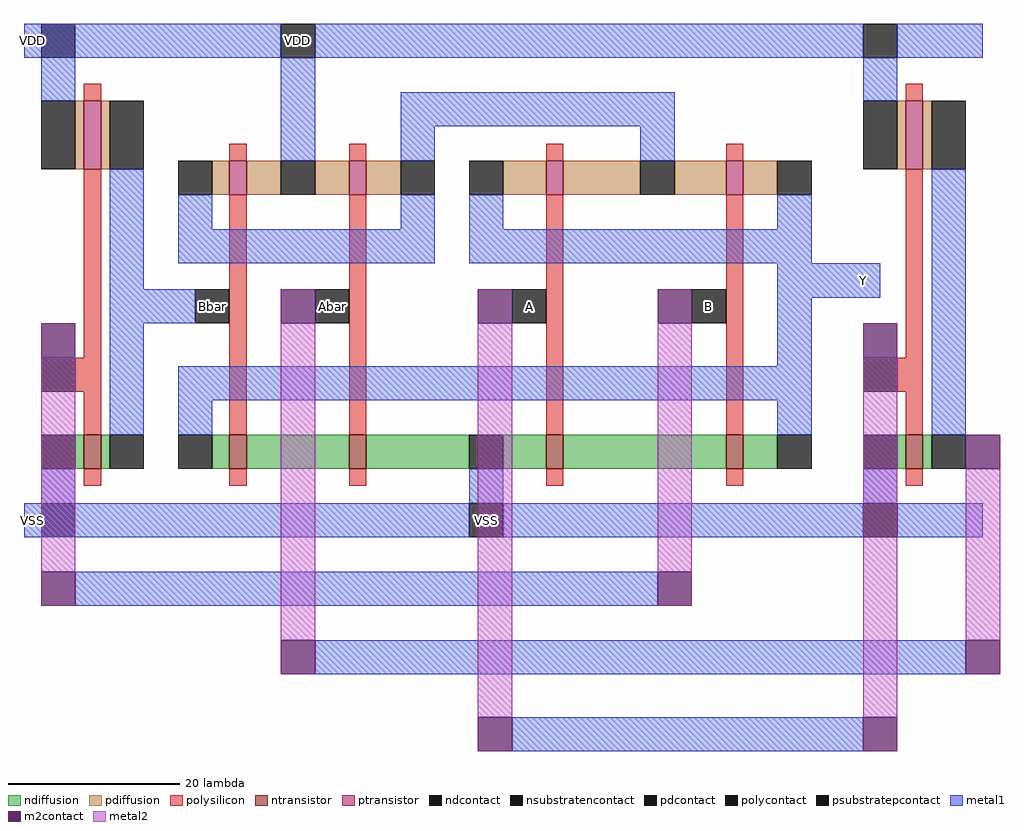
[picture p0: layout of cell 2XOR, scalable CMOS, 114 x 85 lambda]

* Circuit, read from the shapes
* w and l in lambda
.subckt 2XOR A Abar B Bbar VDD VSS Y
M1 Bbar B VSS VSS nfet w=4 l=2
M2 n1 Bbar Y VSS nfet w=4 l=2
M3 VSS Abar n1 VSS nfet w=4 l=2
M4 n2 A VSS VSS nfet w=4 l=2
M5 Y B n2 VSS nfet w=4 l=2
M6 Abar A VSS VSS nfet w=4 l=2
M7 Bbar B VDD VDD pfet w=8 l=2
M8 VDD Bbar n3 VDD pfet w=4 l=2
M9 n3 Abar VDD VDD pfet w=4 l=2
M10 n3 A Y VDD pfet w=4 l=2
M11 Y B n3 VDD pfet w=4 l=2
M12 Abar A VDD VDD pfet w=8 l=2
.ends

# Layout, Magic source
magic
tech scmos
<< ntransistor >>
rect 6 8 8 12
rect 20 8 22 12
rect 43 8 45 12
rect 64 8 66 12
<< ptransistor >>
rect 6 40 8 44
rect 20 40 22 44
rect 43 40 45 44
rect 64 40 66 44
<< ndiffusion >>
rect 4 8 6 12
rect 8 8 20 12
rect 22 8 34 12
rect 38 8 43 12
rect 45 8 64 12
rect 66 8 70 12
<< pdiffusion >>
rect 4 40 6 44
rect 8 40 12 44
rect 16 40 20 44
rect 22 40 26 44
rect 38 40 43 44
rect 45 40 54 44
rect 58 40 64 44
rect 66 40 70 44
<< ndcontact >>
rect 0 8 4 12
rect 34 8 38 12
rect 70 8 74 12
<< pdcontact >>
rect 0 40 4 44
rect 12 40 16 44
rect 26 40 30 44
rect 34 40 38 44
rect 54 40 58 44
rect 70 40 74 44
<< psubstratepcontact >>
rect 34 0 38 4
<< nsubstratencontact >>
rect 12 56 16 60
<< polysilicon >>
rect 6 44 8 46
rect 20 44 22 46
rect 43 44 45 46
rect 64 44 66 46
rect 6 12 8 40
rect 20 12 22 40
rect 43 12 45 40
rect 64 12 66 40
rect 6 6 8 8
rect 20 6 22 8
rect 43 6 45 8
rect 64 6 66 8
<< polycontact >>
rect 2 25 6 29
rect 16 25 20 29
rect 39 25 43 29
rect 60 25 64 29
<< metal1 >>
rect -18 56 -12 60
rect -2 56 12 60
rect 16 56 80 60
rect 12 44 16 56
rect 26 48 58 52
rect 26 44 30 48
rect 54 44 58 48
rect 0 36 4 40
rect 26 36 30 40
rect 0 32 30 36
rect 34 36 38 40
rect 70 36 74 40
rect 34 32 74 36
rect -4 25 2 29
rect 70 28 82 32
rect 70 20 74 28
rect 0 16 74 20
rect 0 12 4 16
rect 70 12 74 16
rect 34 4 38 8
rect -18 0 -12 4
rect -2 0 34 4
rect 38 0 78 4
rect -12 -8 56 -4
rect 16 -16 92 -12
rect 39 -25 80 -21
<< m2contact >>
rect 12 25 16 29
rect 35 25 39 29
rect 56 25 60 29
rect -16 21 -12 25
rect 80 21 84 25
rect 92 8 96 12
rect -16 -8 -12 -4
rect 56 -8 60 -4
rect 12 -16 16 -12
rect 92 -16 96 -12
rect 35 -25 39 -21
rect 80 -25 84 -21
<< metal2 >>
rect -16 -4 -12 21
rect 12 -12 16 25
rect 35 -21 39 25
rect 56 -4 60 25
rect 80 -21 84 21
rect 92 -12 96 8
use INV  INV_1
transform 1 0 -13 0 1 -1
box -5 1 11 61
use INV  INV_2
transform 1 0 83 0 1 -1
box -5 1 11 61
<< labels >>
rlabel nsubstratencontact 14 58 14 58 5 VDD
rlabel metal1 -17 58 -17 58 1 VDD
rlabel metal1 -17 2 -17 2 1 VSS
rlabel psubstratepcontact 36 2 36 2 1 VSS
rlabel metal1 80 30 80 30 1 Y
rlabel polycontact 41 27 41 27 1 A
rlabel polycontact 62 27 62 27 1 B
rlabel polycontact 18 27 18 27 1 Abar
rlabel polycontact 4 27 4 27 1 Bbar
<< end >>

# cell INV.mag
magic
tech scmos
<< ntransistor >>
rect 2 9 4 13
<< ptransistor >>
rect 2 44 4 52
<< ndiffusion >>
rect 1 9 2 13
rect 4 9 5 13
<< pdiffusion >>
rect 1 44 2 52
rect 4 44 5 52
<< ndcontact >>
rect -3 9 1 13
rect 5 9 9 13
<< pdcontact >>
rect -3 44 1 52
rect 5 44 9 52
<< psubstratepcontact >>
rect -3 1 1 5
<< nsubstratencontact >>
rect -3 57 1 61
<< polysilicon >>
rect 2 52 4 54
rect 2 22 4 44
rect 1 18 4 22
rect 2 13 4 18
rect 2 7 4 9
<< polycontact >>
rect -3 18 1 22
<< metal1 >>
rect -5 57 -3 61
rect 1 57 11 61
rect -3 52 1 57
rect 5 13 9 44
rect -3 5 1 9
rect -5 1 -3 5
rect 1 1 11 5
<< labels >>
rlabel psubstratepcontact -1 3 -1 3 1 VSS
rlabel polycontact -1 20 -1 20 1 A
rlabel metal1 7 25 7 25 1 Y
rlabel nsubstratencontact -1 59 -1 59 1 VDD
<< end >>
